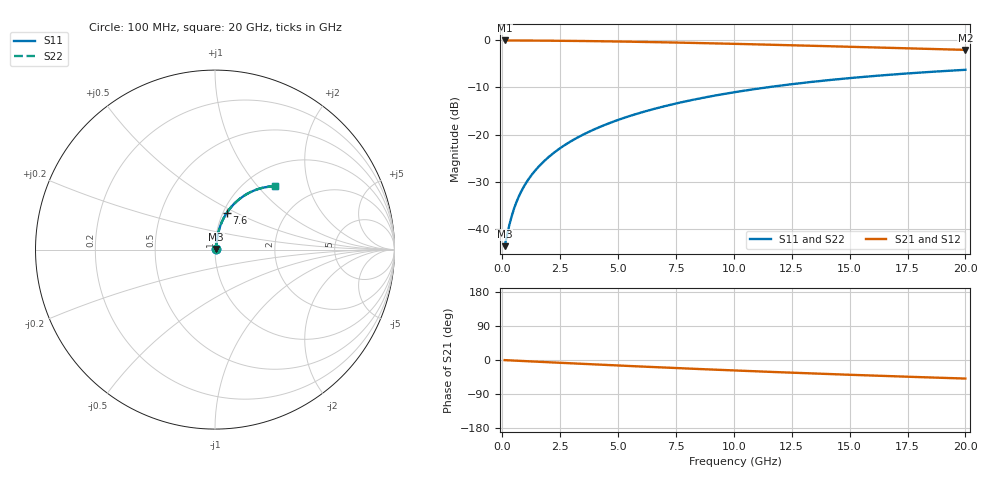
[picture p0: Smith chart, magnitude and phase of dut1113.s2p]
! Touchstone file exported from HFSS 2024.1.0
!  File:  C:/UserFiles/LocalFiles/RDL_TSV_Batchsim/temp_RDL_top_1113_1780046769.aedt
!  Generated:  05:28:29 PM May 29, 2026
!  Design:  RDL_top
!  Project:  temp_RDL_top_1113_1780046769
!  Setup:  Setup1
!  Solution:  Sweep
! Variables:
!  dtsv = 10.80580581um
!  hbump = 3um
!  htsv = 99.71um
!  ldown = 100um
!  lrdl = 636.33um
!  p = 40
!  p1 = 55.26um
!  rhole = 1um
!  t = 450um
!  tdown = 3.915915916um
!  trdl = 2.26um
!  wdown = 15.38538539um
!  wrdl = 17.64um
# GHz S MA R 50.000000
! Terminal data exported
! Port[1] = Box2_T1
! Port[2] = Box2_T2
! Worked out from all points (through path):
!   200 points, 100 MHz to 20 GHz, reference 50 ohm
!   highest |S21| = -0.05 dB at 100 MHz (marker M1); lowest = -2.0 dB at 20 GHz (marker M2)
!   group delay of S21, straight-line fit = 6.8 ps
!   lowest |S11| = -43.6 dB at 100 MHz (marker M3), VSWR 1.01, Z = 50.6 + j0.308 ohm
!   |S11| at or under -10 dB: start of sweep to 11.41 GHz
!   |S22| runs from -43.6 to -6.3 dB; largest |S21 - S12| = 2.5e-15
!   S11 on the Smith chart (normalised r, x): 100 MHz: 1.01, +0.01; 7.6 GHz: 1.04, +0.45; 20 GHz: 1.34, +1.24
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0.1  0.00659 27.5  0.9942 -0.3  0.9942 -0.3  0.00659 27.5
! Gamma 0 0 0 0
! Port Impedance 50 0 50 0
0.3  0.01092 55.9  0.9939 -0.9  0.9939 -0.9  0.01092 55.9
0.4  0.01356 62.1  0.9937 -1.2  0.9937 -1.2  0.01356 62.1
0.5  0.01627 66.2  0.9934 -1.5  0.9934 -1.5  0.01627 66.2
0.6  0.01901 69.0  0.9932 -1.8  0.9932 -1.8  0.01901 69.0
0.7  0.02176 71.0  0.9929 -2.1  0.9929 -2.1  0.02176 71.0
0.9  0.02727 73.8  0.9923 -2.7  0.9923 -2.7  0.02727 73.8
1.2  0.03556 76.3  0.9915 -3.6  0.9915 -3.6  0.03556 76.3
1.4  0.0411 77.3  0.9909 -4.2  0.9909 -4.2  0.0411 77.3
1.7  0.04946 78.3  0.9898 -5.1  0.9898 -5.1  0.04946 78.3
2.2  0.06348 79.1  0.9878 -6.5  0.9878 -6.5  0.06348 79.1
2.8  0.08043 79.3  0.9848 -8.3  0.9848 -8.3  0.08043 79.3
3.5  0.1003 78.9  0.9807 -10.3  0.9807 -10.3  0.1003 78.9
4.2  0.1203 78.1  0.9758 -12.3  0.9758 -12.3  0.1203 78.2
5  0.1432 77.0  0.9694 -14.5  0.9694 -14.5  0.1432 77.0
5.9  0.1688 75.4  0.9612 -17.0  0.9612 -17.0  0.1688 75.4
6.8  0.1942 73.7  0.9523 -19.4  0.9523 -19.4  0.1942 73.7
7.6  0.2165 72.1  0.9438 -21.5  0.9438 -21.5  0.2165 72.1
10.1  0.2833 66.7  0.9146 -27.8  0.9146 -27.8  0.2834 66.8
13.4  0.3627 59.6  0.873 -35.5  0.873 -35.5  0.3628 59.6
16.7  0.4302 52.8  0.8308 -42.5  0.8308 -42.5  0.4303 52.9
20  0.486 46.6  0.7902 -49.0  0.7902 -49.0  0.4862 46.6
